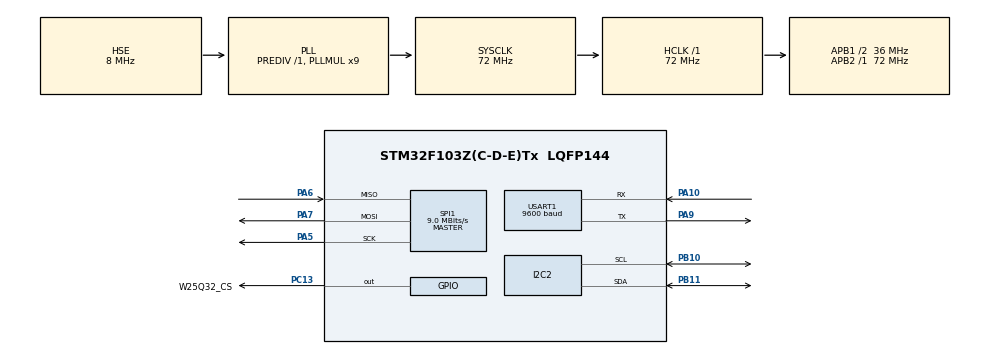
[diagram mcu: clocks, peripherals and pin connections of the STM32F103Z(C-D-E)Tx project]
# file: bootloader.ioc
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I2C2.I2C_Mode=I2C_Fast
Mcu.Family=STM32F1
Mcu.Name=STM32F103Z(C-D-E)Tx
Mcu.Package=LQFP144
NVIC.PriorityGroup=NVIC_PRIORITYGROUP_4
OSC_IN.Mode=HSE-External-Oscillator
OSC_IN.Signal=RCC_OSC_IN
OSC_OUT.Mode=HSE-External-Oscillator
OSC_OUT.Signal=RCC_OSC_OUT
PA10.Mode=Asynchronous
PA10.Signal=USART1_RX
PA13.Mode=Serial_Wire
PA13.Signal=SYS_JTMS-SWDIO
PA14.Mode=Serial_Wire
PA14.Signal=SYS_JTCK-SWCLK
PA5.Mode=Full_Duplex_Master
PA5.Signal=SPI1_SCK
PA6.Mode=Full_Duplex_Master
PA6.Signal=SPI1_MISO
PA7.Mode=Full_Duplex_Master
PA7.Signal=SPI1_MOSI
PA9.Mode=Asynchronous
PA9.Signal=USART1_TX
PB10.Mode=I2C
PB10.Signal=I2C2_SCL
PB11.Mode=I2C
PB11.Signal=I2C2_SDA
PC13-TAMPER-RTC.GPIO_Label=W25Q32_CS
PC13-TAMPER-RTC.GPIO_Speed=GPIO_SPEED_FREQ_HIGH
PC13-TAMPER-RTC.PinState=GPIO_PIN_SET
PC13-TAMPER-RTC.Signal=GPIO_Output
PC14-OSC32_IN.Mode=LSE-External-Oscillator
PC14-OSC32_IN.Signal=RCC_OSC32_IN
PC15-OSC32_OUT.Mode=LSE-External-Oscillator
PC15-OSC32_OUT.Signal=RCC_OSC32_OUT
ProjectManager.HeapSize=0x200
ProjectManager.StackSize=0x400
ProjectManager.TargetToolchain=MDK-ARM V5.32
RCC.AHBFreq_Value=72000000
RCC.APB1CLKDivider=RCC_HCLK_DIV2
RCC.APB1Freq_Value=36000000
RCC.APB1TimFreq_Value=72000000
RCC.APB2Freq_Value=72000000
RCC.APB2TimFreq_Value=72000000
RCC.HCLKFreq_Value=72000000
RCC.PLLMUL=RCC_PLL_MUL9
RCC.PLLSourceVirtual=RCC_PLLSOURCE_HSE
RCC.SYSCLKFreq_VALUE=72000000
RCC.SYSCLKSource=RCC_SYSCLKSOURCE_PLLCLK
RCC.USBFreq_Value=72000000
SPI1.BaudRatePrescaler=SPI_BAUDRATEPRESCALER_8
SPI1.CalculateBaudRate=9.0 MBits/s
SPI1.Direction=SPI_DIRECTION_2LINES
SPI1.Mode=SPI_MODE_MASTER
SPI1.VirtualType=VM_MASTER
USART1.BaudRate=9600
USART1.VirtualMode=VM_ASYNC
board=custom

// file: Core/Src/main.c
/* USER CODE BEGIN Header */
/**
  ******************************************************************************
  * @file           : main.c
  * @brief          : Main program body
  ******************************************************************************
  * @attention
  *
  * Copyright (c) 2026 STMicroelectronics.
  * All rights reserved.
  *
  * This software is licensed under terms that can be found in the LICENSE file
  * in the root directory of this software component.
  * If no LICENSE file comes with this software, it is provided AS-IS.
  *
  ******************************************************************************
  */
/* USER CODE END Header */
#include "main.h"
#include "i2c.h"
#include "spi.h"
#include "usart.h"
#include "gpio.h"

/* USER CODE BEGIN Includes */
#include "App_M24c02.h"
#include "App_OTA.h"
#include "App_W25q32.h"
#include <string.h>
/* USER CODE END Includes */

void SystemClock_Config(void);
/* USER CODE BEGIN PFP */
int fputc(int ch, FILE *file)
{
		HAL_UART_Transmit(&huart1,(uint8_t *)&ch,1,0xffff);
		return ch;
}
/* USER CODE END PFP */

int main(void)
{

  /* MCU Configuration--------------------------------------------------------*/

  /* Reset of all peripherals, Initializes the Flash interface and the Systick. */
  HAL_Init();

  /* Configure the system clock */
  SystemClock_Config();

  /* Initialize all configured peripherals */
  MX_GPIO_Init();
  MX_USART1_UART_Init();
  MX_I2C2_Init();
  MX_SPI1_Init();
  /* USER CODE BEGIN 2 */
printf("[%s:%d] this is bootloader demo\r\n",__FILE__,__LINE__);

#define EEPROM_TEST
#ifdef EEPROM_TEST
uint8_t eeprom_init_flag = 0;
for(uint8_t i = 0; i < 10; i++){
	if(App_M24C02_Init() == HAL_OK){
			eeprom_init_flag = 1;
			break;
	}
	HAL_Delay(100);
}
if(eeprom_init_flag){
	printf("EEPROM Init success\r\n");
}else{
	printf("EEPROM Init fail\r\n");
}
#endif

#define OTA_TEST
#ifdef  OTA_TEST
  APP_OTA_Init();
#endif
#define W25Q32_TEST
#ifdef  W25Q32_TEST
 App_W25q32_Init();
#endif
  /* USER CODE END 2 */

  /* Infinite loop */
  while (1)
  {

  }
}

void SystemClock_Config(void)
{
  RCC_OscInitTypeDef RCC_OscInitStruct = {0};
  RCC_ClkInitTypeDef RCC_ClkInitStruct = {0};

  /** Initializes the RCC Oscillators according to the specified parameters
  * in the RCC_OscInitTypeDef structure.
  */
  RCC_OscInitStruct.OscillatorType = RCC_OSCILLATORTYPE_HSE;
  RCC_OscInitStruct.HSEState = RCC_HSE_ON;
  RCC_OscInitStruct.HSEPredivValue = RCC_HSE_PREDIV_DIV1;
  RCC_OscInitStruct.HSIState = RCC_HSI_ON;
  RCC_OscInitStruct.PLL.PLLState = RCC_PLL_ON;
  RCC_OscInitStruct.PLL.PLLSource = RCC_PLLSOURCE_HSE;
  RCC_OscInitStruct.PLL.PLLMUL = RCC_PLL_MUL9;
  if (HAL_RCC_OscConfig(&RCC_OscInitStruct) != HAL_OK)
  {
    Error_Handler();
  }

  /** Initializes the CPU, AHB and APB buses clocks
  */
  RCC_ClkInitStruct.ClockType = RCC_CLOCKTYPE_HCLK|RCC_CLOCKTYPE_SYSCLK
                              |RCC_CLOCKTYPE_PCLK1|RCC_CLOCKTYPE_PCLK2;
  RCC_ClkInitStruct.SYSCLKSource = RCC_SYSCLKSOURCE_PLLCLK;
  RCC_ClkInitStruct.AHBCLKDivider = RCC_SYSCLK_DIV1;
  RCC_ClkInitStruct.APB1CLKDivider = RCC_HCLK_DIV2;
  RCC_ClkInitStruct.APB2CLKDivider = RCC_HCLK_DIV1;

  if (HAL_RCC_ClockConfig(&RCC_ClkInitStruct, FLASH_LATENCY_2) != HAL_OK)
  {
    Error_Handler();
  }
}

void Error_Handler(void)
{
  __disable_irq();
  while (1)
  {
  }
}
